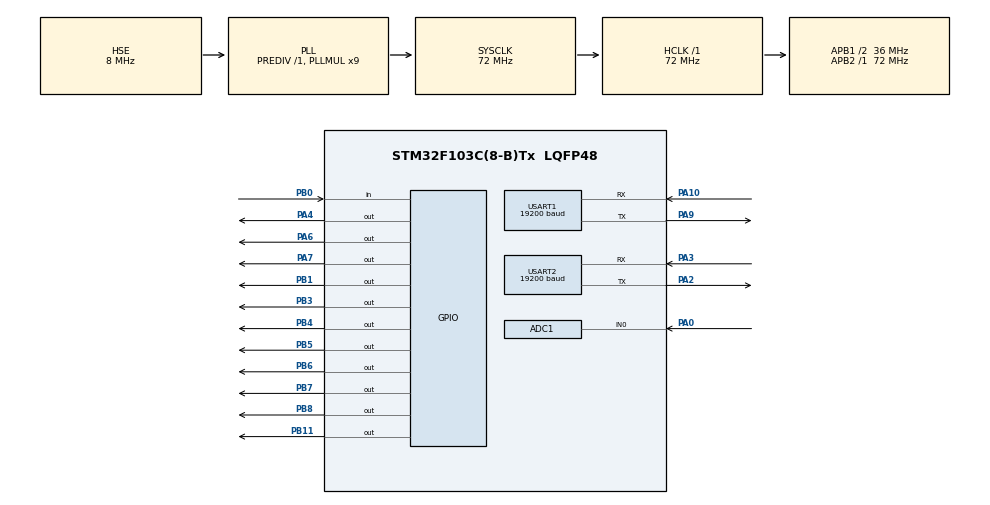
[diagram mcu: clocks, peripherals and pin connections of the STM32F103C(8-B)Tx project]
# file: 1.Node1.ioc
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ADC1.Channel-0\#ChannelRegularConversion=ADC_CHANNEL_0
ADC1.ContinuousConvMode=ENABLE
ADC1.InjNumberOfConversion=0
ADC1.NbrOfConversion=1
ADC1.NbrOfConversionFlag=1
ADC1.Rank-0\#ChannelRegularConversion=1
ADC1.SamplingTime-0\#ChannelRegularConversion=ADC_SAMPLETIME_71CYCLES_5
ADC1.master=1
Dma.ADC1.0.Direction=DMA_PERIPH_TO_MEMORY
Dma.ADC1.0.Instance=DMA1_Channel1
Dma.ADC1.0.MemDataAlignment=DMA_MDATAALIGN_WORD
Dma.ADC1.0.MemInc=DMA_MINC_DISABLE
Dma.ADC1.0.Mode=DMA_CIRCULAR
Dma.ADC1.0.PeriphDataAlignment=DMA_PDATAALIGN_WORD
Dma.ADC1.0.PeriphInc=DMA_PINC_DISABLE
Dma.ADC1.0.Priority=DMA_PRIORITY_MEDIUM
Dma.Request0=ADC1
Dma.Request1=USART1_RX
Dma.Request2=USART1_TX
Dma.Request3=USART2_RX
Dma.Request4=USART2_TX
Dma.USART1_RX.1.Direction=DMA_PERIPH_TO_MEMORY
Dma.USART1_RX.1.Instance=DMA1_Channel5
Dma.USART1_RX.1.MemDataAlignment=DMA_MDATAALIGN_BYTE
Dma.USART1_RX.1.MemInc=DMA_MINC_ENABLE
Dma.USART1_RX.1.Mode=DMA_CIRCULAR
Dma.USART1_RX.1.PeriphDataAlignment=DMA_PDATAALIGN_BYTE
Dma.USART1_RX.1.PeriphInc=DMA_PINC_DISABLE
Dma.USART1_RX.1.Priority=DMA_PRIORITY_LOW
Dma.USART1_TX.2.Direction=DMA_MEMORY_TO_PERIPH
Dma.USART1_TX.2.Instance=DMA1_Channel4
Dma.USART1_TX.2.MemDataAlignment=DMA_MDATAALIGN_BYTE
Dma.USART1_TX.2.MemInc=DMA_MINC_ENABLE
Dma.USART1_TX.2.Mode=DMA_NORMAL
Dma.USART1_TX.2.PeriphDataAlignment=DMA_PDATAALIGN_BYTE
Dma.USART1_TX.2.PeriphInc=DMA_PINC_DISABLE
Dma.USART1_TX.2.Priority=DMA_PRIORITY_LOW
Dma.USART2_RX.3.Direction=DMA_PERIPH_TO_MEMORY
Dma.USART2_RX.3.Instance=DMA1_Channel6
Dma.USART2_RX.3.MemDataAlignment=DMA_MDATAALIGN_BYTE
Dma.USART2_RX.3.MemInc=DMA_MINC_ENABLE
Dma.USART2_RX.3.Mode=DMA_CIRCULAR
Dma.USART2_RX.3.PeriphDataAlignment=DMA_PDATAALIGN_BYTE
Dma.USART2_RX.3.PeriphInc=DMA_PINC_DISABLE
Dma.USART2_RX.3.Priority=DMA_PRIORITY_LOW
Dma.USART2_TX.4.Direction=DMA_MEMORY_TO_PERIPH
Dma.USART2_TX.4.Instance=DMA1_Channel7
Dma.USART2_TX.4.MemDataAlignment=DMA_MDATAALIGN_BYTE
Dma.USART2_TX.4.MemInc=DMA_MINC_ENABLE
Dma.USART2_TX.4.Mode=DMA_NORMAL
Dma.USART2_TX.4.PeriphDataAlignment=DMA_PDATAALIGN_BYTE
Dma.USART2_TX.4.PeriphInc=DMA_PINC_DISABLE
Dma.USART2_TX.4.Priority=DMA_PRIORITY_LOW
IWDG.Prescaler=IWDG_PRESCALER_32
IWDG.Reload=3999
Mcu.Family=STM32F1
Mcu.Name=STM32F103C(8-B)Tx
Mcu.Package=LQFP48
NVIC.DMA1_Channel1_IRQn=true\:0\:0\:false\:false\:true\:false
NVIC.DMA1_Channel4_IRQn=true\:0\:0\:false\:false\:true\:false
NVIC.DMA1_Channel5_IRQn=true\:0\:0\:false\:false\:true\:false
NVIC.DMA1_Channel6_IRQn=true\:0\:0\:false\:false\:true\:false
NVIC.DMA1_Channel7_IRQn=true\:0\:0\:false\:false\:true\:false
NVIC.PriorityGroup=NVIC_PRIORITYGROUP_4
NVIC.USART1_IRQn=true\:0\:0\:false\:false\:true\:true
NVIC.USART2_IRQn=true\:0\:0\:false\:false\:true\:true
PA0-WKUP.Signal=ADCx_IN0
PA10.Mode=Asynchronous
PA10.Signal=USART1_RX
PA13.Mode=Serial_Wire
PA13.Signal=SYS_JTMS-SWDIO
PA14.Mode=Serial_Wire
PA14.Signal=SYS_JTCK-SWCLK
PA2.Mode=Asynchronous
PA2.Signal=USART2_TX
PA3.Mode=Asynchronous
PA3.Signal=USART2_RX
PA4.Signal=GPIO_Output
PA6.Signal=GPIO_Output
PA7.Signal=GPIO_Output
PA9.Mode=Asynchronous
PA9.Signal=USART1_TX
PB0.Signal=GPIO_Input
PB1.Signal=GPIO_Output
PB11.Signal=GPIO_Output
PB3.Signal=GPIO_Output
PB4.Signal=GPIO_Output
PB5.Signal=GPIO_Output
PB6.Signal=GPIO_Output
PB7.Signal=GPIO_Output
PB8.Signal=GPIO_Output
PD0-OSC_IN.Mode=HSE-External-Oscillator
PD0-OSC_IN.Signal=RCC_OSC_IN
PD1-OSC_OUT.Mode=HSE-External-Oscillator
PD1-OSC_OUT.Signal=RCC_OSC_OUT
ProjectManager.HeapSize=0x200
ProjectManager.StackSize=0x1000
ProjectManager.TargetToolchain=MDK-ARM V5
RCC.ADCPresc=RCC_ADCPCLK2_DIV6
RCC.AHBFreq_Value=72000000
RCC.APB1CLKDivider=RCC_HCLK_DIV2
RCC.APB1Freq_Value=36000000
RCC.APB1TimFreq_Value=72000000
RCC.APB2Freq_Value=72000000
RCC.APB2TimFreq_Value=72000000
RCC.HCLKFreq_Value=72000000
RCC.PLLMUL=RCC_PLL_MUL9
RCC.PLLSourceVirtual=RCC_PLLSOURCE_HSE
RCC.SYSCLKFreq_VALUE=72000000
RCC.SYSCLKSource=RCC_SYSCLKSOURCE_PLLCLK
RCC.USBFreq_Value=72000000
SH.ADCx_IN0.0=ADC1_IN0,IN0
USART1.BaudRate=19200
USART1.VirtualMode=VM_ASYNC
USART2.BaudRate=19200
USART2.VirtualMode=VM_ASYNC
VP_IWDG_VS_IWDG.Mode=IWDG_Activate
board=custom

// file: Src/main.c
/* USER CODE BEGIN Header */
/**
  ******************************************************************************
  * @file           : main.c
  * @brief          : Main program body
  ******************************************************************************
  ** This notice applies to any and all portions of this file
  * that are not between comment pairs USER CODE BEGIN and
  * USER CODE END. Other portions of this file, whether
  * inserted by the user or by software development tools
  * are owned by their respective copyright owners.
  *
  * COPYRIGHT(c) 2020 STMicroelectronics
  *
  * Redistribution and use in source and binary forms, with or without modification,
  * are permitted provided that the following conditions are met:
  *   1. Redistributions of source code must retain the above copyright notice,
  *      this list of conditions and the following disclaimer.
  *   2. Redistributions in binary form must reproduce the above copyright notice,
  *      this list of conditions and the following disclaimer in the documentation
  *      and/or other materials provided with the distribution.
  *   3. Neither the name of STMicroelectronics nor the names of its contributors
  *      may be used to endorse or promote products derived from this software
  *      without specific prior written permission.
  *
  * THIS SOFTWARE IS PROVIDED BY THE COPYRIGHT HOLDERS AND CONTRIBUTORS "AS IS"
  * AND ANY EXPRESS OR IMPLIED WARRANTIES, INCLUDING, BUT NOT LIMITED TO, THE
  * IMPLIED WARRANTIES OF MERCHANTABILITY AND FITNESS FOR A PARTICULAR PURPOSE ARE
  * DISCLAIMED. IN NO EVENT SHALL THE COPYRIGHT HOLDER OR CONTRIBUTORS BE LIABLE
  * FOR ANY DIRECT, INDIRECT, INCIDENTAL, SPECIAL, EXEMPLARY, OR CONSEQUENTIAL
  * DAMAGES (INCLUDING, BUT NOT LIMITED TO, PROCUREMENT OF SUBSTITUTE GOODS OR
  * SERVICES; LOSS OF USE, DATA, OR PROFITS; OR BUSINESS INTERRUPTION) HOWEVER
  * CAUSED AND ON ANY THEORY OF LIABILITY, WHETHER IN CONTRACT, STRICT LIABILITY,
  * OR TORT (INCLUDING NEGLIGENCE OR OTHERWISE) ARISING IN ANY WAY OUT OF THE USE
  * OF THIS SOFTWARE, EVEN IF ADVISED OF THE POSSIBILITY OF SUCH DAMAGE.
  *
  ******************************************************************************
  */
/* USER CODE END Header */

#include "main.h"

/* USER CODE BEGIN Includes */
#include "STM_MY_LCD16X2.h"
#include "app.h"
#include "lora.h"
#include "dwt_stm32_delay.h"
#include "sim.h"
/* USER CODE END Includes */

/* USER CODE BEGIN PTD */
#define delay_us	DWT_Delay_us
/* USER CODE END PTD */

ADC_HandleTypeDef hadc1;
DMA_HandleTypeDef hdma_adc1;

IWDG_HandleTypeDef hiwdg;

UART_HandleTypeDef huart1;
UART_HandleTypeDef huart2;
DMA_HandleTypeDef hdma_usart1_rx;
DMA_HandleTypeDef hdma_usart1_tx;
DMA_HandleTypeDef hdma_usart2_rx;
DMA_HandleTypeDef hdma_usart2_tx;

/* USER CODE BEGIN PV */
// Lora: UART1
// SIM: UART2
/* USER CODE END PV */

void SystemClock_Config(void);
static void MX_GPIO_Init(void);
 void MX_DMA_Init(void);
void MX_IWDG_Init(void);
void MX_ADC1_Init(void);
void MX_USART1_UART_Init(void);
void MX_USART2_UART_Init(void);
/* USER CODE BEGIN PFP */

void humidity_measure_process(void);
void temp_measure_process(void);
void LoraReceiveDMA(void);
void SIMReceiveDMA(void);

/* USER CODE END PFP */

/* USER CODE BEGIN 0 */
uint8_t LcdState = 0;
uint8_t LcdbtnOldState = 0;
void LcdHandler(void)
{
	char CrLcdBtnState = Lcd_button();

	if ((LcdbtnOldState == 0) &&( CrLcdBtnState == 1))	// Press event
	{
		if (LcdState == 0)
		{
			Lcd1602_ON();
			LcdState = 1;
		}
		else
		{
			Lcd1602_OFF();
			LcdState = 0;
		}
	}

	LcdbtnOldState = CrLcdBtnState;
}
//
extern bool GWPumpNeedOn	;
bool Node1PumpNeedOn  = false;
uint8_t Node1PumpState = 0;

bool FlagSendDataToSVViaSMS = false;
bool isNotifyLoraNoConnect = false;
uint32_t TimeNotifyLoraLoss1 = 0;
uint32_t TimeNotifyLoraLoss2 = 0;

float Thermal =  0;	// C
uint8_t Humidity = 0;	// %
uint16_t ID = 1;

uint32_t LoraSendDataTime = 0, LCDTimeUpdate = 0;
uint32_t  LoraSendDataTime2 = 0;
bool SensorValueChanged = true;

/* USER CODE END 0 */

int main(void)
{

  /* MCU Configuration--------------------------------------------------------*/

  /* Reset of all peripherals, Initializes the Flash interface and the Systick. */
  HAL_Init();

  /* Configure the system clock */
  SystemClock_Config();

  /* Initialize all configured peripherals */
  MX_GPIO_Init();
  MX_DMA_Init();
  //MX_IWDG_Init();
  MX_ADC1_Init();
  MX_USART1_UART_Init();
  MX_USART2_UART_Init();
  /* USER CODE BEGIN 2 */
	OFF_4V();
	PUMP_OFF();
	Lcd1602_ON();
	LCD1602_Begin4BIT(RS_GPORT, RS_GPIN, EN_GPIN, D4_GPORT, D4_GPIN, D5_GPIN, D6_GPIN, D7_GPIN);
	LCD1602_noBlink();
	//LCD1602_noCursor();
	LCD1602_1stLine();
	LCD1602_print("ID:1         L:0");

	//HAL_ADC_Start_DMA(&hadc1, ADC1Value, 1);
	HAL_ADC_Start(&hadc1);
	Lora_Mode0();

	if (DWT_Delay_Init() != 0)
	{
		Error_Handler();
	}

	#if USING_LORA_RECEIVE_DMA > 0
	LoraReceiveDMA();
	#endif

	#if USING_SIM_RECEIVE_DMA > 0
	SIMReceiveDMA();
	#endif

	HAL_Delay(200);

	sim_async_init();
	TimeNotifyLoraLoss1 = HAL_GetTick();
  /* USER CODE END 2 */

  /* Infinite loop */
  while (1)
  {

    /* USER CODE BEGIN 3 */

		/*--------------- Measure Humidity --------------*/
		humidity_measure_process();

		/*--------------- Measure temperature ----------*/
		temp_measure_process();

		/*---------------- Lora receive message -----------*/
		lora_receive_process();

		/*-------------------  SIM process --------------*/
		sim_process();

		/*-------------------  PUMP process --------------*/
		if (Node1PumpNeedOn) {PUMP_ON();Node1PumpState = 1;}
		else {PUMP_OFF(); Node1PumpState = 0;}

		/*-------------------  Gửi tin nhắn báo mất kết nối lora --------------*/
		if (((HAL_GetTick() - TimeNotifyLoraLoss1 >= 30000)&&(TimeNotifyLoraLoss1 != 0))
			||((HAL_GetTick()  - TimeNotifyLoraLoss2 >= 5000)&&(TimeNotifyLoraLoss1 == 0)))
		{
			if (lora_is_connected() == false)
			{
				if (isNotifyLoraNoConnect == false)	// Nếu chưa thông báo cho User biết đã mất kết nối Lora
				{
					if (sim_is_init_ok() && (sim_is_sendingMsg() == false))
					{
						char abc[100];
						sprintf(abc, "ID: %03d canh bao: mat ket noi lora", ID);
						sim_async_sendmsg(USER_PNB, abc);	// Thông báo
						isNotifyLoraNoConnect = true;
					}
				}
			}
			TimeNotifyLoraLoss1 = 0;
			TimeNotifyLoraLoss2 = HAL_GetTick();
		}

		/*---------print sensor value to LCD1602----------*/
		if (sim_is_initializing() == false)
		{
			if (HAL_GetTick() - LCDTimeUpdate >= 500)
			{
				if (SensorValueChanged)
				{
					LCD1602_2ndLine();
					char as[22];
					sprintf(as, "T:%2d.%d    H:%3d%%", (int)Thermal, ((int)(Thermal*10)%10), Humidity);
					LCD1602_print(as);
					sprintf(as, "ID:%03d  S:%d  L:%d", ID,sim_is_init_ok(), lora_is_connected());
					LCD1602_1stLine();
					LCD1602_print(as);
				}
				LCDTimeUpdate = HAL_GetTick();
			}
		} else LCDTimeUpdate = HAL_GetTick();

		/*---------print sensor value to Server via lora----------*/
		if (HAL_GetTick()   - LoraSendDataTime >= 3100)
		{
			if ((SensorValueChanged)||(HAL_GetTick() - LoraSendDataTime2 >= 3000))
			{
				char as[50];

				// Data Sequence: ID,Type[TH],Thermal, Humidity, GWPumpNeedOn, Node1PumpState
				sprintf(as,"#ID%03dTHT%04dH%03dPP%d%d!",ID, (int)(Thermal*10), Humidity, GWPumpNeedOn, Node1PumpState);
				lora_send_data((uint8_t*)as, strlen(as));

				if (lora_is_connected() == false)
				{
					if (FlagSendDataToSVViaSMS == true)
					{
						if (sim_is_init_ok() &&(sim_is_sendingMsg() == false))
						{
							sim_async_sendmsg(GW_PHONENUMBER, as);
							FlagSendDataToSVViaSMS = false;
						}
					}
				}

				LoraSendDataTime2 = HAL_GetTick();
			}

			LoraSendDataTime = HAL_GetTick();
			SensorValueChanged = false;
		}

		LcdHandler();
		//HAL_IWDG_Refresh(&hiwdg);
  }
  /* USER CODE END 3 */
}

void SystemClock_Config(void)
{
  RCC_OscInitTypeDef RCC_OscInitStruct = {0};
  RCC_ClkInitTypeDef RCC_ClkInitStruct = {0};
  RCC_PeriphCLKInitTypeDef PeriphClkInit = {0};

  /**Initializes the CPU, AHB and APB busses clocks
  */
  RCC_OscInitStruct.OscillatorType = RCC_OSCILLATORTYPE_LSI|RCC_OSCILLATORTYPE_HSE;
  RCC_OscInitStruct.HSEState = RCC_HSE_ON;
  RCC_OscInitStruct.HSEPredivValue = RCC_HSE_PREDIV_DIV1;
  RCC_OscInitStruct.HSIState = RCC_HSI_ON;
  RCC_OscInitStruct.LSIState = RCC_LSI_ON;
  RCC_OscInitStruct.PLL.PLLState = RCC_PLL_ON;
  RCC_OscInitStruct.PLL.PLLSource = RCC_PLLSOURCE_HSE;
  RCC_OscInitStruct.PLL.PLLMUL = RCC_PLL_MUL9;
  if (HAL_RCC_OscConfig(&RCC_OscInitStruct) != HAL_OK)
  {
    Error_Handler();
  }
  /**Initializes the CPU, AHB and APB busses clocks
  */
  RCC_ClkInitStruct.ClockType = RCC_CLOCKTYPE_HCLK|RCC_CLOCKTYPE_SYSCLK
                              |RCC_CLOCKTYPE_PCLK1|RCC_CLOCKTYPE_PCLK2;
  RCC_ClkInitStruct.SYSCLKSource = RCC_SYSCLKSOURCE_PLLCLK;
  RCC_ClkInitStruct.AHBCLKDivider = RCC_SYSCLK_DIV1;
  RCC_ClkInitStruct.APB1CLKDivider = RCC_HCLK_DIV2;
  RCC_ClkInitStruct.APB2CLKDivider = RCC_HCLK_DIV1;

  if (HAL_RCC_ClockConfig(&RCC_ClkInitStruct, FLASH_LATENCY_2) != HAL_OK)
  {
    Error_Handler();
  }
  PeriphClkInit.PeriphClockSelection = RCC_PERIPHCLK_ADC;
  PeriphClkInit.AdcClockSelection = RCC_ADCPCLK2_DIV6;
  if (HAL_RCCEx_PeriphCLKConfig(&PeriphClkInit) != HAL_OK)
  {
    Error_Handler();
  }
}

void MX_ADC1_Init(void)
{

  ADC_ChannelConfTypeDef sConfig = {0};

  /**Common config
  */
  hadc1.Instance = ADC1;
  hadc1.Init.ScanConvMode = ADC_SCAN_DISABLE;
  hadc1.Init.ContinuousConvMode = ENABLE;
  hadc1.Init.DiscontinuousConvMode = DISABLE;
  hadc1.Init.ExternalTrigConv = ADC_SOFTWARE_START;
  hadc1.Init.DataAlign = ADC_DATAALIGN_RIGHT;
  hadc1.Init.NbrOfConversion = 1;
  if (HAL_ADC_Init(&hadc1) != HAL_OK)
  {
    Error_Handler();
  }
  /**Configure Regular Channel
  */
  sConfig.Channel = ADC_CHANNEL_0;
  sConfig.Rank = ADC_REGULAR_RANK_1;
  sConfig.SamplingTime = ADC_SAMPLETIME_71CYCLES_5;
  if (HAL_ADC_ConfigChannel(&hadc1, &sConfig) != HAL_OK)
  {
    Error_Handler();
  }

}

void MX_IWDG_Init(void)
{

  hiwdg.Instance = IWDG;
  hiwdg.Init.Prescaler = IWDG_PRESCALER_32;
  hiwdg.Init.Reload = 3999;
  if (HAL_IWDG_Init(&hiwdg) != HAL_OK)
  {
    Error_Handler();
  }

}

void MX_USART1_UART_Init(void)
{

  huart1.Instance = USART1;
  huart1.Init.BaudRate = 19200;
  huart1.Init.WordLength = UART_WORDLENGTH_8B;
  huart1.Init.StopBits = UART_STOPBITS_1;
  huart1.Init.Parity = UART_PARITY_NONE;
  huart1.Init.Mode = UART_MODE_TX_RX;
  huart1.Init.HwFlowCtl = UART_HWCONTROL_NONE;
  huart1.Init.OverSampling = UART_OVERSAMPLING_16;
  if (HAL_UART_Init(&huart1) != HAL_OK)
  {
    Error_Handler();
  }
  /* USER CODE BEGIN USART1_Init 2 */
	#if USING_LORA_RECEIVE_IT > 0
	__HAL_UART_ENABLE_IT(&huart1, UART_IT_RXNE);
	#endif

  /* USER CODE END USART1_Init 2 */

}

void MX_USART2_UART_Init(void)
{

  huart2.Instance = USART2;
  huart2.Init.BaudRate = 19200;
  huart2.Init.WordLength = UART_WORDLENGTH_8B;
  huart2.Init.StopBits = UART_STOPBITS_1;
  huart2.Init.Parity = UART_PARITY_NONE;
  huart2.Init.Mode = UART_MODE_TX_RX;
  huart2.Init.HwFlowCtl = UART_HWCONTROL_NONE;
  huart2.Init.OverSampling = UART_OVERSAMPLING_16;
  if (HAL_UART_Init(&huart2) != HAL_OK)
  {
    Error_Handler();
  }
  /* USER CODE BEGIN USART2_Init 2 */
	#if USING_SIM_RECEIVE_IT > 0
	__HAL_UART_ENABLE_IT(&huart2, UART_IT_RXNE);
	#endif

  /* USER CODE END USART2_Init 2 */

}

 void MX_DMA_Init(void)
{
  /* DMA controller clock enable */
  __HAL_RCC_DMA1_CLK_ENABLE();

  /* DMA interrupt init */
  /* DMA1_Channel1_IRQn interrupt configuration */
  HAL_NVIC_SetPriority(DMA1_Channel1_IRQn, 0, 0);
  HAL_NVIC_EnableIRQ(DMA1_Channel1_IRQn);
  /* DMA1_Channel4_IRQn interrupt configuration */
  HAL_NVIC_SetPriority(DMA1_Channel4_IRQn, 0, 0);
  HAL_NVIC_EnableIRQ(DMA1_Channel4_IRQn);
  /* DMA1_Channel5_IRQn interrupt configuration */
  HAL_NVIC_SetPriority(DMA1_Channel5_IRQn, 0, 0);
  HAL_NVIC_EnableIRQ(DMA1_Channel5_IRQn);
  /* DMA1_Channel6_IRQn interrupt configuration */
  HAL_NVIC_SetPriority(DMA1_Channel6_IRQn, 0, 0);
  HAL_NVIC_EnableIRQ(DMA1_Channel6_IRQn);
  /* DMA1_Channel7_IRQn interrupt configuration */
  HAL_NVIC_SetPriority(DMA1_Channel7_IRQn, 0, 0);
  HAL_NVIC_EnableIRQ(DMA1_Channel7_IRQn);

}

static void MX_GPIO_Init(void)
{
  GPIO_InitTypeDef GPIO_InitStruct = {0};

  /* GPIO Ports Clock Enable */
  __HAL_RCC_GPIOD_CLK_ENABLE();
  __HAL_RCC_GPIOA_CLK_ENABLE();
  __HAL_RCC_GPIOB_CLK_ENABLE();

  /*Configure GPIO pin Output Level */
  HAL_GPIO_WritePin(GPIOA, GPIO_PIN_4|GPIO_PIN_6|GPIO_PIN_7, GPIO_PIN_RESET);

  /*Configure GPIO pin Output Level */
  HAL_GPIO_WritePin(GPIOB, GPIO_PIN_1|GPIO_PIN_11|GPIO_PIN_3|GPIO_PIN_4
                          |GPIO_PIN_5|GPIO_PIN_6|GPIO_PIN_7|GPIO_PIN_8, GPIO_PIN_RESET);

  /*Configure GPIO pins : PA4 PA6 PA7 */
  GPIO_InitStruct.Pin = GPIO_PIN_4|GPIO_PIN_6|GPIO_PIN_7;
  GPIO_InitStruct.Mode = GPIO_MODE_OUTPUT_PP;
  GPIO_InitStruct.Pull = GPIO_NOPULL;
  GPIO_InitStruct.Speed = GPIO_SPEED_FREQ_LOW;
  HAL_GPIO_Init(GPIOA, &GPIO_InitStruct);

  /*Configure GPIO pin : PB0 */
  GPIO_InitStruct.Pin = GPIO_PIN_0;
  GPIO_InitStruct.Mode = GPIO_MODE_INPUT;
  GPIO_InitStruct.Pull = GPIO_NOPULL;
  HAL_GPIO_Init(GPIOB, &GPIO_InitStruct);

  /*Configure GPIO pins : PB1 PB11 PB3 PB4
                           PB5 PB6 PB7 PB8 */
  GPIO_InitStruct.Pin = GPIO_PIN_1|GPIO_PIN_11|GPIO_PIN_3|GPIO_PIN_4
                          |GPIO_PIN_5|GPIO_PIN_6|GPIO_PIN_7|GPIO_PIN_8;
  GPIO_InitStruct.Mode = GPIO_MODE_OUTPUT_PP;
  GPIO_InitStruct.Pull = GPIO_NOPULL;
  GPIO_InitStruct.Speed = GPIO_SPEED_FREQ_LOW;
  HAL_GPIO_Init(GPIOB, &GPIO_InitStruct);

}

void Error_Handler(void)
{
}

/************************ (C) COPYRIGHT STMicroelectronics *****END OF FILE****/
